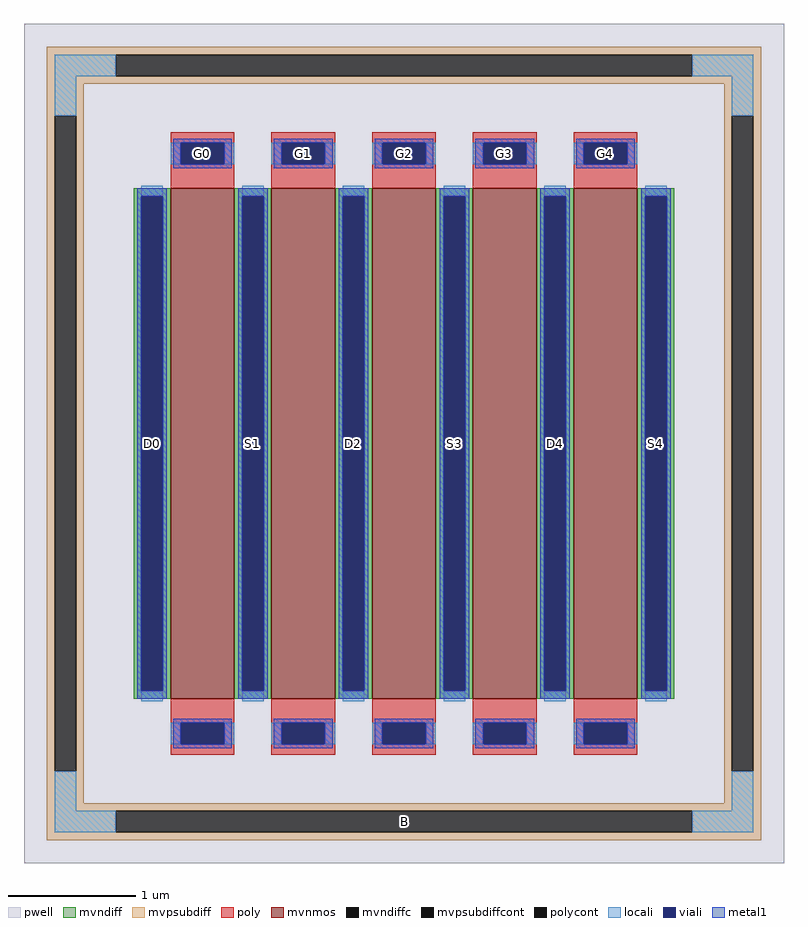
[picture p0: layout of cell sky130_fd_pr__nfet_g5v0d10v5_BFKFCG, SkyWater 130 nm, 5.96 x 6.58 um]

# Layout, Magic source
magic
tech sky130A
magscale 1 2
<< pwell >>
rect -596 -658 596 658
<< mvnmos >>
rect -366 -400 -266 400
rect -208 -400 -108 400
rect -50 -400 50 400
rect 108 -400 208 400
rect 266 -400 366 400
<< mvndiff >>
rect -424 388 -366 400
rect -424 -388 -412 388
rect -378 -388 -366 388
rect -424 -400 -366 -388
rect -266 388 -208 400
rect -266 -388 -254 388
rect -220 -388 -208 388
rect -266 -400 -208 -388
rect -108 388 -50 400
rect -108 -388 -96 388
rect -62 -388 -50 388
rect -108 -400 -50 -388
rect 50 388 108 400
rect 50 -388 62 388
rect 96 -388 108 388
rect 50 -400 108 -388
rect 208 388 266 400
rect 208 -388 220 388
rect 254 -388 266 388
rect 208 -400 266 -388
rect 366 388 424 400
rect 366 -388 378 388
rect 412 -388 424 388
rect 366 -400 424 -388
<< mvndiffc >>
rect -412 -388 -378 388
rect -254 -388 -220 388
rect -96 -388 -62 388
rect 62 -388 96 388
rect 220 -388 254 388
rect 378 -388 412 388
<< mvpsubdiff >>
rect -560 610 560 622
rect -560 576 -452 610
rect 452 576 560 610
rect -560 564 560 576
rect -560 514 -502 564
rect -560 -514 -548 514
rect -514 -514 -502 514
rect 502 514 560 564
rect -560 -564 -502 -514
rect 502 -514 514 514
rect 548 -514 560 514
rect 502 -564 560 -514
rect -560 -576 560 -564
rect -560 -610 -452 -576
rect 452 -610 560 -576
rect -560 -622 560 -610
<< mvpsubdiffcont >>
rect -452 576 452 610
rect -548 -514 -514 514
rect 514 -514 548 514
rect -452 -610 452 -576
<< poly >>
rect -366 472 -266 488
rect -366 438 -350 472
rect -282 438 -266 472
rect -366 400 -266 438
rect -208 472 -108 488
rect -208 438 -192 472
rect -124 438 -108 472
rect -208 400 -108 438
rect -50 472 50 488
rect -50 438 -34 472
rect 34 438 50 472
rect -50 400 50 438
rect 108 472 208 488
rect 108 438 124 472
rect 192 438 208 472
rect 108 400 208 438
rect 266 472 366 488
rect 266 438 282 472
rect 350 438 366 472
rect 266 400 366 438
rect -366 -438 -266 -400
rect -366 -472 -350 -438
rect -282 -472 -266 -438
rect -366 -488 -266 -472
rect -208 -438 -108 -400
rect -208 -472 -192 -438
rect -124 -472 -108 -438
rect -208 -488 -108 -472
rect -50 -438 50 -400
rect -50 -472 -34 -438
rect 34 -472 50 -438
rect -50 -488 50 -472
rect 108 -438 208 -400
rect 108 -472 124 -438
rect 192 -472 208 -438
rect 108 -488 208 -472
rect 266 -438 366 -400
rect 266 -472 282 -438
rect 350 -472 366 -438
rect 266 -488 366 -472
<< polycont >>
rect -350 438 -282 472
rect -192 438 -124 472
rect -34 438 34 472
rect 124 438 192 472
rect 282 438 350 472
rect -350 -472 -282 -438
rect -192 -472 -124 -438
rect -34 -472 34 -438
rect 124 -472 192 -438
rect 282 -472 350 -438
<< locali >>
rect -548 576 -452 610
rect 452 576 548 610
rect -548 514 -514 576
rect 514 514 548 576
rect -366 438 -350 472
rect -282 438 -266 472
rect -208 438 -192 472
rect -124 438 -108 472
rect -50 438 -34 472
rect 34 438 50 472
rect 108 438 124 472
rect 192 438 208 472
rect 266 438 282 472
rect 350 438 366 472
rect -412 388 -378 404
rect -412 -404 -378 -388
rect -254 388 -220 404
rect -254 -404 -220 -388
rect -96 388 -62 404
rect -96 -404 -62 -388
rect 62 388 96 404
rect 62 -404 96 -388
rect 220 388 254 404
rect 220 -404 254 -388
rect 378 388 412 404
rect 378 -404 412 -388
rect -366 -472 -350 -438
rect -282 -472 -266 -438
rect -208 -472 -192 -438
rect -124 -472 -108 -438
rect -50 -472 -34 -438
rect 34 -472 50 -438
rect 108 -472 124 -438
rect 192 -472 208 -438
rect 266 -472 282 -438
rect 350 -472 366 -438
rect -548 -576 -514 -514
rect 514 -576 548 -514
rect -548 -610 -452 -576
rect 452 -610 548 -576
<< viali >>
rect -350 438 -282 472
rect -192 438 -124 472
rect -34 438 34 472
rect 124 438 192 472
rect 282 438 350 472
rect -412 -388 -378 388
rect -254 -388 -220 388
rect -96 -388 -62 388
rect 62 -388 96 388
rect 220 -388 254 388
rect 378 -388 412 388
rect -350 -472 -282 -438
rect -192 -472 -124 -438
rect -34 -472 34 -438
rect 124 -472 192 -438
rect 282 -472 350 -438
<< metal1 >>
rect -362 472 -270 478
rect -362 438 -350 472
rect -282 438 -270 472
rect -362 432 -270 438
rect -204 472 -112 478
rect -204 438 -192 472
rect -124 438 -112 472
rect -204 432 -112 438
rect -46 472 46 478
rect -46 438 -34 472
rect 34 438 46 472
rect -46 432 46 438
rect 112 472 204 478
rect 112 438 124 472
rect 192 438 204 472
rect 112 432 204 438
rect 270 472 362 478
rect 270 438 282 472
rect 350 438 362 472
rect 270 432 362 438
rect -418 388 -372 400
rect -418 -388 -412 388
rect -378 -388 -372 388
rect -418 -400 -372 -388
rect -260 388 -214 400
rect -260 -388 -254 388
rect -220 -388 -214 388
rect -260 -400 -214 -388
rect -102 388 -56 400
rect -102 -388 -96 388
rect -62 -388 -56 388
rect -102 -400 -56 -388
rect 56 388 102 400
rect 56 -388 62 388
rect 96 -388 102 388
rect 56 -400 102 -388
rect 214 388 260 400
rect 214 -388 220 388
rect 254 -388 260 388
rect 214 -400 260 -388
rect 372 388 418 400
rect 372 -388 378 388
rect 412 -388 418 388
rect 372 -400 418 -388
rect -362 -438 -270 -432
rect -362 -472 -350 -438
rect -282 -472 -270 -438
rect -362 -478 -270 -472
rect -204 -438 -112 -432
rect -204 -472 -192 -438
rect -124 -472 -112 -438
rect -204 -478 -112 -472
rect -46 -438 46 -432
rect -46 -472 -34 -438
rect 34 -472 46 -438
rect -46 -478 46 -472
rect 112 -438 204 -432
rect 112 -472 124 -438
rect 192 -472 204 -438
rect 112 -478 204 -472
rect 270 -438 362 -432
rect 270 -472 282 -438
rect 350 -472 362 -438
rect 270 -478 362 -472
<< labels >>
rlabel mvpsubdiffcont 0 -593 0 -593 0 B
port 1 nsew
rlabel mvndiffc -395 0 -395 0 0 D0
port 2 nsew
rlabel polycont -316 455 -316 455 0 G0
port 3 nsew
rlabel mvndiffc -237 0 -237 0 0 S1
port 4 nsew
rlabel polycont -158 455 -158 455 0 G1
port 5 nsew
rlabel mvndiffc -79 0 -79 0 0 D2
port 6 nsew
rlabel polycont 0 455 0 455 0 G2
port 7 nsew
rlabel mvndiffc 79 0 79 0 0 S3
port 8 nsew
rlabel polycont 158 455 158 455 0 G3
port 9 nsew
rlabel mvndiffc 237 0 237 0 0 D4
port 10 nsew
rlabel mvndiffc 395 0 395 0 0 S4
port 11 nsew
rlabel polycont 316 455 316 455 0 G4
port 12 nsew
<< properties >>
string FIXED_BBOX -531 -593 531 593
string gencell sky130_fd_pr__nfet_g5v0d10v5
string library sky130
string parameters w 4 l 0.50 m 1 nf 5 diffcov 100 polycov 100 guard 1 glc 1 grc 1 gtc 1 gbc 1 tbcov 100 rlcov 100 topc 1 botc 1 poverlap 0 doverlap 1 lmin 0.50 wmin 0.42 class mosfet compatible {sky130_fd_pr__nfet_01v8 sky130_fd_pr__nfet_01v8_lvt  sky130_fd_bs_flash__special_sonosfet_star  sky130_fd_pr__nfet_g5v0d10v5 sky130_fd_pr__nfet_05v0_nvt  sky130_fd_pr__nfet_03v3_nvt} full_metal 1 conn_gates 0 viasrc 100 viadrn 100 viagate 100 viagb 0 viagr 0 viagl 0 viagt 0 doports 1
<< end >>
